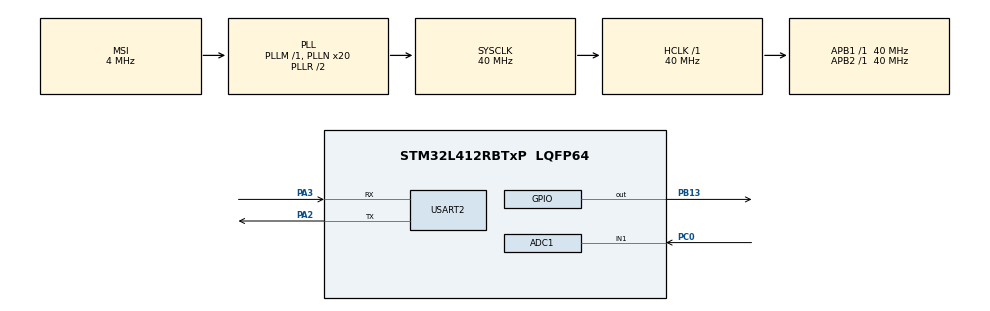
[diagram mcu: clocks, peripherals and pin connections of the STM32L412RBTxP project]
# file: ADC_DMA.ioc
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ADC1.Channel-2\#ChannelRegularConversion=ADC_CHANNEL_1
ADC1.Channel-3\#ChannelRegularConversion=ADC_CHANNEL_TEMPSENSOR
ADC1.ClockPrescaler=ADC_CLOCK_ASYNC_DIV32
ADC1.ContinuousConvMode=ENABLE
ADC1.DMAContinuousRequests=ENABLE
ADC1.EOCSelection=ADC_EOC_SEQ_CONV
ADC1.NbrOfConversion=2
ADC1.NbrOfConversionFlag=1
ADC1.OffsetNumber-2\#ChannelRegularConversion=ADC_OFFSET_NONE
ADC1.OffsetNumber-3\#ChannelRegularConversion=ADC_OFFSET_NONE
ADC1.Rank-2\#ChannelRegularConversion=1
ADC1.Rank-3\#ChannelRegularConversion=2
ADC1.SamplingTime-2\#ChannelRegularConversion=ADC_SAMPLETIME_640CYCLES_5
ADC1.SamplingTime-3\#ChannelRegularConversion=ADC_SAMPLETIME_640CYCLES_5
ADC1.master=1
Dma.ADC1.0.Direction=DMA_PERIPH_TO_MEMORY
Dma.ADC1.0.Instance=DMA1_Channel1
Dma.ADC1.0.MemDataAlignment=DMA_MDATAALIGN_WORD
Dma.ADC1.0.MemInc=DMA_MINC_ENABLE
Dma.ADC1.0.Mode=DMA_CIRCULAR
Dma.ADC1.0.PeriphDataAlignment=DMA_PDATAALIGN_WORD
Dma.ADC1.0.PeriphInc=DMA_PINC_DISABLE
Dma.ADC1.0.Priority=DMA_PRIORITY_LOW
Dma.Request0=ADC1
Mcu.Family=STM32L4
Mcu.Name=STM32L412RBTxP
Mcu.Package=LQFP64
NVIC.DMA1_Channel1_IRQn=true\:0\:0\:false\:false\:true\:false\:true
NVIC.PriorityGroup=NVIC_PRIORITYGROUP_4
PA2.Mode=Asynchronous
PA2.Signal=USART2_TX
PA3.Mode=Asynchronous
PA3.Signal=USART2_RX
PB13.Signal=GPIO_Output
PC0.Signal=ADCx_IN1
ProjectManager.HeapSize=0x200
ProjectManager.StackSize=0x400
ProjectManager.TargetToolchain=STM32CubeIDE
RCC.ADCFreq_Value=40000000
RCC.AHBFreq_Value=40000000
RCC.APB1Freq_Value=40000000
RCC.APB1TimFreq_Value=40000000
RCC.APB2Freq_Value=40000000
RCC.APB2TimFreq_Value=40000000
RCC.CortexFreq_Value=40000000
RCC.HCLKFreq_Value=40000000
RCC.HSE_VALUE=8000000
RCC.HSI48_VALUE=48000000
RCC.HSI_VALUE=16000000
RCC.LSE_VALUE=32768
RCC.MSI_VALUE=4000000
RCC.PLLN=20
RCC.SYSCLKFreq_VALUE=40000000
RCC.SYSCLKSource=RCC_SYSCLKSOURCE_PLLCLK
RCC.USBFreq_Value=4000000
RCC.VCOOutputFreq_Value=80000000
SH.ADCx_IN1.0=ADC1_IN1,IN1-Single-Ended
USART2.VirtualMode-Asynchronous=VM_ASYNC
VP_ADC1_TempSens_Input.Mode=IN-TempSens
board=custom

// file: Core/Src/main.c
/* USER CODE BEGIN Header */
/**
  ******************************************************************************
  * @file           : main.c
  * @brief          : Main program body
  ******************************************************************************
  * @attention
  *
  * <h2><center>&copy; Copyright (c) 2021 STMicroelectronics.
  * All rights reserved.</center></h2>
  *
  * This software component is licensed by ST under BSD 3-Clause license,
  * the "License"; You may not use this file except in compliance with the
  * License. You may obtain a copy of the License at:
  *                        opensource.org/licenses/BSD-3-Clause
  *
  ******************************************************************************
  */
/* USER CODE END Header */
#include "main.h"
#include "adc.h"
#include "dma.h"
#include "usart.h"
#include "gpio.h"

/* USER CODE BEGIN Includes */
#include <stdio.h>

/* USER CODE END Includes */

/* USER CODE BEGIN PD */

/* DMA 1 / Vref 2 */
#define MY_MODE             1
//#define V_REF_ADDR        ((uint16_t*)(0x1FFF75AA))

/* USER CODE END PD */

/* USER CODE BEGIN PM */
#ifdef __GNUC__
    #define PUTCHAR_PROTOTYPE int __io_putchar(int ch)
#else
    #define PUTCHAR_PROTOTYPE int fputc(int ch, FILE *f)
#endif

PUTCHAR_PROTOTYPE
{
  HAL_UART_Transmit(&huart2, (uint8_t *)&ch, 1, 0xFFFF);
  return ch;
}

/* USER CODE END PM */

/* USER CODE BEGIN PV */
uint32_t g_dma_adc_val[2] = {0,};

/* USER CODE END PV */

void SystemClock_Config(void);

int main(void)
{

  /* MCU Configuration--------------------------------------------------------*/

  /* Reset of all peripherals, Initializes the Flash interface and the Systick. */
  HAL_Init();

  /* Configure the system clock */
  SystemClock_Config();

  /* Initialize all configured peripherals */
  MX_GPIO_Init();
  MX_DMA_Init();
  MX_ADC1_Init();
  MX_USART2_UART_Init();
  /* USER CODE BEGIN 2 */

  printf("STM On! \r\n");

#if (MY_MODE==1)
  uint32_t adc_val;

  float temp;

  while(HAL_ADCEx_Calibration_Start(&hadc1, ADC_SINGLE_ENDED) != HAL_OK);

  HAL_ADC_Start_DMA(&hadc1, (uint32_t *)g_dma_adc_val, 2);

#else
  printf("adc not run? but Vref : %d \r\n", *V_REF_ADDR);

  if (HAL_ADCEx_Calibration_Start(&hadc1, ADC_SINGLE_ENDED) != HAL_OK)
  {
      Error_Handler();
  }
  float sensorValue;

# endif

  /* USER CODE END 2 */

  /* Infinite loop */
  /* USER CODE BEGIN WHILE */
  while (1)
  {
#if (MY_MODE==1)

    adc_val = g_dma_adc_val[1];
    printf("-----------------------------\r\n");
    printf("cal_1 : temp  %ld / adc : %d \r\n", TEMPSENSOR_CAL1_TEMP, *TEMPSENSOR_CAL1_ADDR);
    printf("cal_2 : temp  %ld / adc : %d \r\n", TEMPSENSOR_CAL2_TEMP, *TEMPSENSOR_CAL2_ADDR);
    printf("adc sense : %d \r\n", adc_val);

    temp = (((float)TEMPSENSOR_CAL2_TEMP - (float)TEMPSENSOR_CAL1_TEMP) / ((float)*TEMPSENSOR_CAL2_ADDR - (float)*TEMPSENSOR_CAL1_ADDR) * ((float)g_dma_adc_val[1] - (float)*TEMPSENSOR_CAL1_ADDR) + (float)TEMPSENSOR_CAL1_TEMP);

    printf("cal 1,2,3 : %d %d %d \r\n", (TEMPSENSOR_CAL2_TEMP - TEMPSENSOR_CAL1_TEMP) , (*TEMPSENSOR_CAL2_ADDR - *TEMPSENSOR_CAL1_ADDR) , (g_dma_adc_val[1] - *TEMPSENSOR_CAL1_ADDR));
    printf("temp : %f \r\n", (float)temp);
    printf("volt : %f \r\n", (float)(adc_val*3.0/4096.0));
    printf("res : %f \r\n", (float)(-(0.76 - (float)adc_val*3.0/4096.0)*1000.0/2.5 + 30.0));

#else
    HAL_ADC_Start(&hadc1);
    if(HAL_ADC_PollForConversion(&hadc1, 100) == HAL_OK)
    {
      sensorValue = (float)HAL_ADC_GetValue(&hadc1);
      HAL_ADC_Stop(&hadc1);
      if (HAL_ADCEx_Calibration_Start(&hadc1, ADC_SINGLE_ENDED) != HAL_OK)
      {
          Error_Handler();
      }
      printf("------------------- \r\n");
      printf("sensorValue : %f \r\n", (float)sensorValue);
      printf("val : %d \r\n", *V_REF_ADDR);
    }

#endif

    HAL_GPIO_TogglePin(GPIOB, GPIO_PIN_13);
    HAL_Delay(1000);
    /* USER CODE END WHILE */

  }
}

void SystemClock_Config(void)
{
  RCC_OscInitTypeDef RCC_OscInitStruct = {0};
  RCC_ClkInitTypeDef RCC_ClkInitStruct = {0};
  RCC_PeriphCLKInitTypeDef PeriphClkInit = {0};

  /** Configure the main internal regulator output voltage
  */
  if (HAL_PWREx_ControlVoltageScaling(PWR_REGULATOR_VOLTAGE_SCALE1) != HAL_OK)
  {
    Error_Handler();
  }
  /** Initializes the RCC Oscillators according to the specified parameters
  * in the RCC_OscInitTypeDef structure.
  */
  RCC_OscInitStruct.OscillatorType = RCC_OSCILLATORTYPE_MSI;
  RCC_OscInitStruct.MSIState = RCC_MSI_ON;
  RCC_OscInitStruct.MSICalibrationValue = 0;
  RCC_OscInitStruct.MSIClockRange = RCC_MSIRANGE_6;
  RCC_OscInitStruct.PLL.PLLState = RCC_PLL_ON;
  RCC_OscInitStruct.PLL.PLLSource = RCC_PLLSOURCE_MSI;
  RCC_OscInitStruct.PLL.PLLM = 1;
  RCC_OscInitStruct.PLL.PLLN = 20;
  RCC_OscInitStruct.PLL.PLLQ = RCC_PLLQ_DIV2;
  RCC_OscInitStruct.PLL.PLLR = RCC_PLLR_DIV2;
  if (HAL_RCC_OscConfig(&RCC_OscInitStruct) != HAL_OK)
  {
    Error_Handler();
  }
  /** Initializes the CPU, AHB and APB buses clocks
  */
  RCC_ClkInitStruct.ClockType = RCC_CLOCKTYPE_HCLK|RCC_CLOCKTYPE_SYSCLK
                              |RCC_CLOCKTYPE_PCLK1|RCC_CLOCKTYPE_PCLK2;
  RCC_ClkInitStruct.SYSCLKSource = RCC_SYSCLKSOURCE_PLLCLK;
  RCC_ClkInitStruct.AHBCLKDivider = RCC_SYSCLK_DIV1;
  RCC_ClkInitStruct.APB1CLKDivider = RCC_HCLK_DIV1;
  RCC_ClkInitStruct.APB2CLKDivider = RCC_HCLK_DIV1;

  if (HAL_RCC_ClockConfig(&RCC_ClkInitStruct, FLASH_LATENCY_2) != HAL_OK)
  {
    Error_Handler();
  }
  PeriphClkInit.PeriphClockSelection = RCC_PERIPHCLK_USART2|RCC_PERIPHCLK_ADC;
  PeriphClkInit.Usart2ClockSelection = RCC_USART2CLKSOURCE_PCLK1;
  if (HAL_RCCEx_PeriphCLKConfig(&PeriphClkInit) != HAL_OK)
  {
    Error_Handler();
  }
}

void Error_Handler(void)
{
  __disable_irq();
  while (1)
  {
  }
}

/************************ (C) COPYRIGHT STMicroelectronics *****END OF FILE****/
